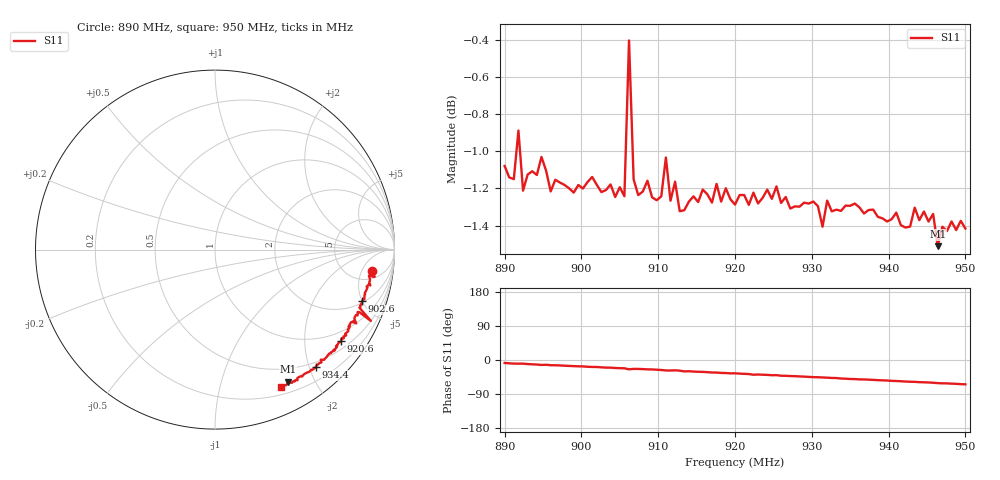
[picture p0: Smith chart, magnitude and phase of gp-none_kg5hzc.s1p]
# HZ S RI R 50
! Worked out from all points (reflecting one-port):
!   101 points, 890 MHz to 950 MHz, reference 50 ohm
!   lowest |S11| = -1.5 dB at 946.4 MHz (marker M1), VSWR 11.52, Z = 16.5 - j82.4 ohm
!   phase of S11 starts at -8 deg and turns -56 deg over the sweep
!   S11 on the Smith chart (normalised r, x): 890 MHz: 7, -8; 902.6 MHz: 2.12, -4.99; 920.6 MHz: 0.71, -2.93; 934.4 MHz: 0.41, -2.11; 950 MHz: 0.28, -1.56
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8.9e8  0.8749 -0.1208
8.912e8  0.8641 -0.1441
8.918e8  0.8901 -0.1509
8.924e8  0.8575 -0.1452
8.948e8  0.8653 -0.2002
8.954e8  0.8595 -0.1919
8.978e8  0.8428 -0.2273
9.026e8  0.8198 -0.2881
9.05e8  0.8104 -0.3208
9.056e8  0.8042 -0.3232
9.062e8  0.8682 -0.3973
9.068e8  0.8036 -0.3482
9.092e8  0.7856 -0.3648
9.11e8  0.7869 -0.4111
9.128e8  0.7571 -0.4052
9.134e8  0.7435 -0.4308
9.158e8  0.743 -0.4533
9.2e8  0.7055 -0.4957
9.206e8  0.7022 -0.5091
9.224e8  0.6765 -0.545
9.254e8  0.668 -0.5606
9.278e8  0.6327 -0.5844
9.344e8  0.5609 -0.6542
9.35e8  0.5524 -0.6613
9.428e8  0.4583 -0.7165
9.458e8  0.4284 -0.7425
9.464e8  0.4066 -0.7353
9.5e8  0.3687 -0.7654
